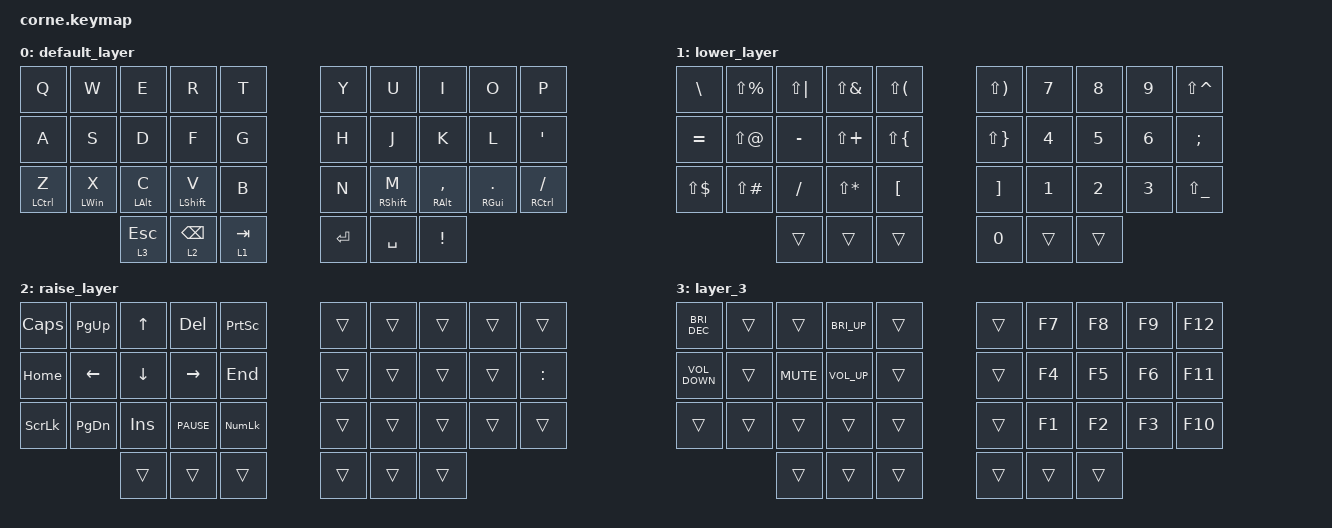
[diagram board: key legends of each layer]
#include <behaviors.dtsi>
#include <dt-bindings/zmk/keys.h>
#include <dt-bindings/zmk/bt.h>
#include <dt-bindings/zmk/outputs.h>

/ {
    chosen { 
        zmk,physical-layout = &foostan_corne_5col_layout; 
    };
  };

/ {
    keymap {
        compatible = "zmk,keymap";

        default_layer {                     
            bindings = <  
&kp Q               &kp W           &kp E           &kp R             &kp T            &kp Y    &kp U              &kp I                &kp O                 &kp P           
&kp A               &kp S           &kp D           &kp F             &kp G            &kp H    &kp J              &kp K                &kp L                 &kp APOS         
&mt LEFT_CONTROL Z  &mt LEFT_WIN X  &mt LEFT_ALT C  &mt LEFT_SHIFT V  &kp B            &kp N    &mt RIGHT_SHIFT M  &mt RIGHT_ALT COMMA  &mt RIGHT_GUI PERIOD  &mt RIGHT_CONTROL SLASH    
                                    &lt 3 ESC       &lt 2 BACKSPACE   &lt 1 TAB        &kp RET  &kp SPACE  &kp EXCL
            >;
        };

        lower_layer {
            bindings = <
&kp BSLH      &kp LS(PRCNT)  &kp LS(PIPE)  &kp LS(AMPS)  &kp LS(LPAR)                   &kp LS(RPAR)  &kp N7  &kp N8  &kp N9  &kp LS(CARET)  
&kp EQUAL     &kp LS(AT)     &kp MINUS     &kp LS(PLUS)  &kp LS(LBRC)                   &kp LS(RBRC)  &kp N4  &kp N5  &kp N6  &kp SEMI  
&kp LS(DLLR)  &kp LS(POUND)  &kp FSLH      &kp LS(STAR)  &kp LBKT                       &kp RBKT      &kp N1  &kp N2  &kp N3  &kp LS(UNDER)  
                             &trans        &trans        &trans                         &kp NUMBER_0  &trans  &trans
            >;
        };

        raise_layer {

            bindings = <
&kp CAPS        &kp PG_UP  &kp UP    &kp DEL      &kp PRINTSCREEN                        &trans  &trans  &trans  &trans  &trans     
&kp HOME        &kp LEFT   &kp DOWN  &kp RIGHT    &kp END                                &trans  &trans  &trans  &trans  &kp COLON  
&kp SCROLLLOCK  &kp PG_DN  &kp INS   &kp C_PAUSE  &kp KP_NUMLOCK                         &trans  &trans  &trans  &trans  &trans    
                           &trans    &trans       &trans                                 &trans  &trans  &trans
            >;
        };

        layer_3 {

            bindings = <
&kp C_BRI_DEC      &trans  &trans      &kp C_BRI_UP     &trans                           &trans  &kp F7  &kp F8   &kp F9  &kp F12  
&kp C_VOLUME_DOWN  &trans  &kp C_MUTE  &kp C_VOLUME_UP  &trans                           &trans  &kp F4  &kp F5   &kp F6  &kp F11  
&trans             &trans  &trans      &trans           &trans                           &trans  &kp F1  &kp F2   &kp F3  &kp F10 
                           &trans      &trans           &trans                           &trans  &trans  &trans
            >;
        };
    };
};
